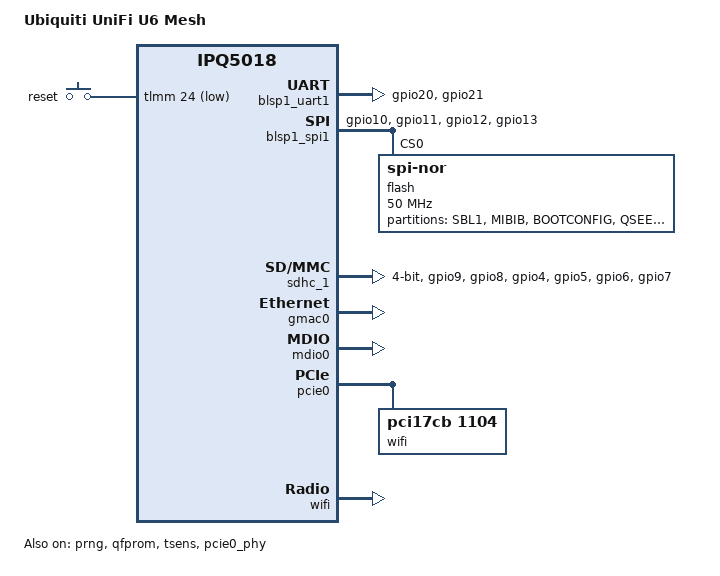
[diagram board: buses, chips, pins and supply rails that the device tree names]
// SPDX-License-Identifier: GPL-2.0-or-later OR MIT
/*
 * Ubiquiti UniFi U6 Mesh (board ID a651)
 *
 * IPQ5018 + QCN9074 (5 GHz, PCI 17cb:1104) + IPQ5018 built-in 2.4 GHz,
 * 8 MiB SPI NOR (boot) + eMMC (kernel/rootfs), one GbE port.
 */

/dts-v1/;

#include "ipq5018.dtsi"
#include "ipq5018-ess.dtsi"

#include <dt-bindings/gpio/gpio.h>
#include <dt-bindings/input/input.h>

/ {
	model = "Ubiquiti UniFi U6 Mesh";
	compatible = "ubnt,unifi-6-mesh", "qcom,ipq5018";

	aliases {
		serial0 = &blsp1_uart1;
		label-mac-device = &gmac0;
	};

	chosen {
		stdout-path = "serial0:115200n8";
		bootargs-append = " swiotlb=1 coherent_pool=2M";
	};

	keys {
		compatible = "gpio-keys";
		pinctrl-0 = <&button_pins>;
		pinctrl-names = "default";

		reset {
			label = "reset";
			gpios = <&tlmm 24 GPIO_ACTIVE_LOW>;
			linux,code = <KEY_RESTART>;
		};
	};
};

&sleep_clk {
	clock-frequency = <32000>;
};

&xo_board_clk {
	clock-div = <4>;
	clock-mult = <1>;
};

&blsp1_uart1 {
	status = "okay";
	pinctrl-0 = <&serial_0_pins>;
	pinctrl-names = "default";
};

&prng {
	status = "okay";
};

&qfprom {
	status = "okay";
};

&tsens {
	status = "okay";
};

&blsp1_spi1 {
	status = "okay";
	pinctrl-0 = <&spi_pins>;
	pinctrl-names = "default";

	flash@0 {
		compatible = "jedec,spi-nor";
		reg = <0>;
		spi-max-frequency = <50000000>;

		partitions {
			compatible = "fixed-partitions";
			#address-cells = <1>;
			#size-cells = <1>;

			partition@0 {
				label = "SBL1";
				reg = <0x000000 0x030000>;
				read-only;
			};

			partition@30000 {
				label = "MIBIB";
				reg = <0x030000 0x010000>;
				read-only;
			};

			partition@40000 {
				label = "BOOTCONFIG";
				reg = <0x040000 0x010000>;
				read-only;
			};

			partition@50000 {
				label = "QSEE";
				reg = <0x050000 0x0a0000>;
				read-only;
			};

			partition@f0000 {
				label = "DEVCFG";
				reg = <0x0f0000 0x010000>;
				read-only;
			};

			partition@100000 {
				label = "CDT";
				reg = <0x100000 0x010000>;
				read-only;
			};

			partition@110000 {
				label = "u-boot-env";
				reg = <0x110000 0x010000>;
			};

			partition@120000 {
				label = "u-boot";
				reg = <0x120000 0x0a0000>;
				read-only;
			};

			partition@1c0000 {
				label = "ART";
				reg = <0x1c0000 0x070000>;
				read-only;

				nvmem-layout {
					compatible = "fixed-layout";
					#address-cells = <1>;
					#size-cells = <1>;

					caldata_ipq5018: calibration@1000 {
						reg = <0x1000 0x20000>;
					};

					caldata_qcn9074: calibration@26800 {
						reg = <0x26800 0x20000>;
					};
				};
			};

			partition@230000 {
				label = "EEPROM";
				reg = <0x230000 0x010000>;
				read-only;

				nvmem-layout {
					compatible = "fixed-layout";
					#address-cells = <1>;
					#size-cells = <1>;

					macaddr_0: mac@0 {
						compatible = "mac-base";
						reg = <0x0 0x6>;
						#nvmem-cell-cells = <1>;
					};
				};
			};
		};
	};
};

&sdhc_1 {
	status = "okay";
	bus-width = <4>;

	pinctrl-0 = <&sdc1_pins>;
	pinctrl-names = "default";
};

&gmac0 {
	status = "okay";
	label = "lan";
	nvmem-cells = <&macaddr_0 0>;
	nvmem-cell-names = "mac-address";
};

&mdio0 {
	status = "okay";
};

&pcie0 {
	status = "okay";
	perst-gpios = <&tlmm 15 GPIO_ACTIVE_LOW>;

	pcie@0 {
		wifi@0,0 {
			status = "okay";
			compatible = "pci17cb,1104";
			reg = <0x00010000 0 0 0 0>;
			qcom,calibration-variant = "Ubiquiti-U6-Mesh";
			qcom,ath11k-fw-memory-mode = <1>;

			nvmem-cells = <&caldata_qcn9074>, <&macaddr_0 2>;
			nvmem-cell-names = "calibration", "mac-address";
		};
	};
};

&pcie0_phy {
	status = "okay";
};

&q6v5_wcss {
	firmware-name = "ath11k/IPQ5018/hw1.0/q6_fw.mdt",
			"ath11k/IPQ5018/hw1.0/m3_fw.mdt";
};

&wifi {
	status = "okay";
	qcom,rproc = <&q6v5_wcss>;
	qcom,calibration-variant = "Ubiquiti-U6-Mesh";
	qcom,ath11k-fw-memory-mode = <1>;

	nvmem-cells = <&caldata_ipq5018>, <&macaddr_0 1>;
	nvmem-cell-names = "calibration", "mac-address";
};

&tlmm {
	serial_0_pins: uart0-state {
		pins = "gpio20", "gpio21";
		function = "blsp0_uart0";
		drive-strength = <8>;
		bias-disable;
	};

	spi_pins: spi-state {
		pins = "gpio10", "gpio11", "gpio12", "gpio13";
		function = "blsp0_spi";
		drive-strength = <8>;
		bias-disable;
	};

	sdc1_pins: sdc1-state {
		clk-pins {
			pins = "gpio9";
			function = "sdc1_clk";
			drive-strength = <8>;
			bias-disable;
		};

		cmd-pins {
			pins = "gpio8";
			function = "sdc1_cmd";
			drive-strength = <8>;
			bias-pull-up;
		};

		data-pins {
			pins = "gpio4", "gpio5", "gpio6", "gpio7";
			function = "sdc1_data";
			drive-strength = <8>;
			bias-disable;
		};
	};

	button_pins: button-state {
		pins = "gpio24";
		function = "gpio";
		drive-strength = <8>;
		bias-pull-up;
	};
};

/*
 * The U6 Mesh LEDs are driven by a separate I2C MCU (UI "thunder" at 0x38,
 * optionally the Holtek HT32F52241 at 0x30), which needs the vendor driver
 * and its firmware.  There is no mainline driver, so the LEDs are left
 * unmanaged here.  The reset button above is a direct GPIO and works.
 */
